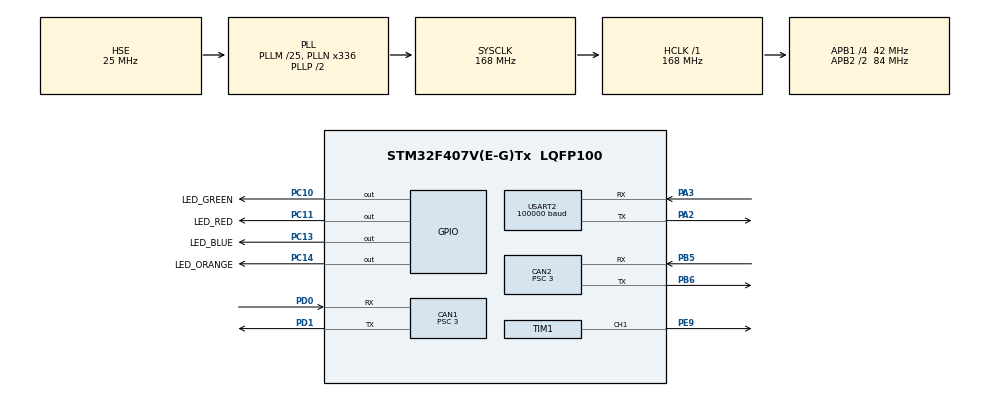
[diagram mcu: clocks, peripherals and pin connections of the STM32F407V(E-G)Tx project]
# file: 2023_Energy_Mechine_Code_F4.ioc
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CAN1.ABOM=ENABLE
CAN1.BS1=CAN_BS1_9TQ
CAN1.BS2=CAN_BS2_4TQ
CAN1.CalculateBaudRate=1000000
CAN1.CalculateTimeBit=1000
CAN1.CalculateTimeQuantum=71.42857142857143
CAN1.Prescaler=3
CAN1.TXFP=ENABLE
CAN2.ABOM=ENABLE
CAN2.BS1=CAN_BS1_9TQ
CAN2.BS2=CAN_BS2_4TQ
CAN2.CalculateBaudRate=1000000
CAN2.CalculateTimeBit=1000
CAN2.CalculateTimeQuantum=71.42857142857143
CAN2.Prescaler=3
CAN2.TXFP=ENABLE
Dma.Request0=USART2_RX
Dma.Request1=USART2_TX
Dma.Request2=TIM1_CH1
Dma.TIM1_CH1.2.Direction=DMA_MEMORY_TO_PERIPH
Dma.TIM1_CH1.2.FIFOMode=DMA_FIFOMODE_DISABLE
Dma.TIM1_CH1.2.Instance=DMA2_Stream1
Dma.TIM1_CH1.2.MemDataAlignment=DMA_MDATAALIGN_HALFWORD
Dma.TIM1_CH1.2.MemInc=DMA_MINC_ENABLE
Dma.TIM1_CH1.2.Mode=DMA_CIRCULAR
Dma.TIM1_CH1.2.PeriphDataAlignment=DMA_PDATAALIGN_HALFWORD
Dma.TIM1_CH1.2.PeriphInc=DMA_PINC_DISABLE
Dma.TIM1_CH1.2.Priority=DMA_PRIORITY_MEDIUM
Dma.USART2_RX.0.Direction=DMA_PERIPH_TO_MEMORY
Dma.USART2_RX.0.FIFOMode=DMA_FIFOMODE_DISABLE
Dma.USART2_RX.0.Instance=DMA1_Stream5
Dma.USART2_RX.0.MemDataAlignment=DMA_MDATAALIGN_BYTE
Dma.USART2_RX.0.MemInc=DMA_MINC_ENABLE
Dma.USART2_RX.0.Mode=DMA_CIRCULAR
Dma.USART2_RX.0.PeriphDataAlignment=DMA_PDATAALIGN_BYTE
Dma.USART2_RX.0.PeriphInc=DMA_PINC_DISABLE
Dma.USART2_RX.0.Priority=DMA_PRIORITY_VERY_HIGH
Dma.USART2_TX.1.Direction=DMA_MEMORY_TO_PERIPH
Dma.USART2_TX.1.FIFOMode=DMA_FIFOMODE_DISABLE
Dma.USART2_TX.1.Instance=DMA1_Stream6
Dma.USART2_TX.1.MemDataAlignment=DMA_MDATAALIGN_BYTE
Dma.USART2_TX.1.MemInc=DMA_MINC_ENABLE
Dma.USART2_TX.1.Mode=DMA_NORMAL
Dma.USART2_TX.1.PeriphDataAlignment=DMA_PDATAALIGN_BYTE
Dma.USART2_TX.1.PeriphInc=DMA_PINC_DISABLE
Dma.USART2_TX.1.Priority=DMA_PRIORITY_LOW
Mcu.Family=STM32F4
Mcu.Name=STM32F407V(E-G)Tx
Mcu.Package=LQFP100
NVIC.CAN1_RX0_IRQn=true\:0\:0\:false\:false\:true\:true\:true\:true
NVIC.CAN2_RX0_IRQn=true\:0\:0\:false\:false\:true\:true\:true\:true
NVIC.DMA1_Stream5_IRQn=true\:0\:0\:false\:false\:true\:false\:true\:true
NVIC.DMA1_Stream6_IRQn=true\:0\:0\:false\:false\:true\:false\:true\:true
NVIC.DMA2_Stream1_IRQn=true\:0\:0\:false\:false\:true\:false\:true\:true
NVIC.PriorityGroup=NVIC_PRIORITYGROUP_4
NVIC.USART2_IRQn=true\:0\:0\:false\:false\:true\:true\:true\:true
PA13.Mode=Serial_Wire
PA13.Signal=SYS_JTMS-SWDIO
PA14.Mode=Serial_Wire
PA14.Signal=SYS_JTCK-SWCLK
PA2.Mode=Asynchronous
PA2.Signal=USART2_TX
PA3.Mode=Asynchronous
PA3.Signal=USART2_RX
PB5.Mode=CAN_Activate
PB5.Signal=CAN2_RX
PB6.Mode=CAN_Activate
PB6.Signal=CAN2_TX
PC10.GPIO_Label=LED_GREEN
PC10.Signal=GPIO_Output
PC11.GPIO_Label=LED_RED
PC11.Signal=GPIO_Output
PC13-ANTI_TAMP.GPIO_Label=LED_BLUE
PC13-ANTI_TAMP.Signal=GPIO_Output
PC14-OSC32_IN.GPIO_Label=LED_ORANGE
PC14-OSC32_IN.Signal=GPIO_Output
PD0.Mode=CAN_Activate
PD0.Signal=CAN1_RX
PD1.Mode=CAN_Activate
PD1.Signal=CAN1_TX
PE9.Signal=S_TIM1_CH1
PH0-OSC_IN.Mode=HSE-External-Oscillator
PH0-OSC_IN.Signal=RCC_OSC_IN
PH1-OSC_OUT.Mode=HSE-External-Oscillator
PH1-OSC_OUT.Signal=RCC_OSC_OUT
ProjectManager.HeapSize=0x200
ProjectManager.StackSize=0x400
ProjectManager.TargetToolchain=MDK-ARM V5
RCC.48MHZClocksFreq_Value=84000000
RCC.AHBFreq_Value=168000000
RCC.APB1CLKDivider=RCC_HCLK_DIV4
RCC.APB1Freq_Value=42000000
RCC.APB1TimFreq_Value=84000000
RCC.APB2CLKDivider=RCC_HCLK_DIV2
RCC.APB2Freq_Value=84000000
RCC.APB2TimFreq_Value=168000000
RCC.CortexFreq_Value=168000000
RCC.HCLKFreq_Value=168000000
RCC.HSE_VALUE=25000000
RCC.HSI_VALUE=16000000
RCC.LSE_VALUE=32768
RCC.PLLM=25
RCC.PLLN=336
RCC.PLLSourceVirtual=RCC_PLLSOURCE_HSE
RCC.SYSCLKFreq_VALUE=168000000
RCC.SYSCLKSource=RCC_SYSCLKSOURCE_PLLCLK
RCC.VCOOutputFreq_Value=336000000
SH.S_TIM1_CH1.0=TIM1_CH1,PWM Generation1 CH1
TIM1.Channel-PWM\ Generation1\ CH1=TIM_CHANNEL_1
TIM1.Period=105
TIM1.Prescaler=2-1
TIM1.Pulse-PWM\ Generation1\ CH1=25
USART2.BaudRate=100000
USART2.VirtualMode=VM_ASYNC
VP_TIM1_VS_ClockSourceINT.Mode=Internal
board=custom

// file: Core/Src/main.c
/* USER CODE BEGIN Header */
/**
  ******************************************************************************
  * @file           : main.c
  * @brief          : Main program body
  ******************************************************************************
  * @attention
  *  2023 RobotPiolts
  *  能量机关大主控代码
  *  作者：zs
	*  邮件：szhangszu@163.com
	*  QQ:   1273890169
  *
  *
  *
  *
  *
  ******************************************************************************
  */
/* USER CODE END Header */
#include "main.h"
#include "can.h"
#include "dma.h"
#include "tim.h"
#include "usart.h"
#include "gpio.h"

/* USER CODE BEGIN Includes */
#include "CAN_receive.h"
#include "can_protocal.h"
#include "uart_drv.h"
#include "rc.h"
#include "motor.h"
#include <math.h>
#include "Flag_State.h"
#include "WS2812.h"
#include <stdlib.h>
#include <time.h>
/* USER CODE END Includes */

/* USER CODE BEGIN PTD */
float motor_speed;
uint8_t  ucSec;
extern float usTms; //毫秒计时
extern float ms_2500; //毫秒计时

/* USER CODE END PTD */

/* USER CODE BEGIN PD */
#define BOARD_NUMBER 0
#define TIME_CNT_CLEAR 255

#define ON  1
#define OFF 0
#define BLUE  1
#define RED 0
#define COLOR (BLUE)

/* USER CODE END PD */

/* USER CODE BEGIN PM */
float speed_rate;
uint8_t color;
uint8_t rand_set;
uint8_t rand_num_0;
uint8_t rand_num_1;
uint8_t rand_num_2;
uint8_t rand_num_3;
uint8_t rand_num_4;
uint8_t motor_control;
uint8_t s2_down_now;
uint8_t s2_down_last;
uint8_t s1_down_now;
uint8_t s1_down_last;
float a_x_1000;
float a_x_1;
float w_x_1000;
float w_x_1;
float b;
int32_t last_time = 0;
int32_t now_time = 0;
char speed1;
char speed2;
float sin_value;
char Manual;
/* USER CODE END PM */

void SystemClock_Config(void);

int main(void)
{

  /* MCU Configuration--------------------------------------------------------*/

  /* Reset of all peripherals, Initializes the Flash interface and the Systick. */
  HAL_Init();

  /* Configure the system clock */
  SystemClock_Config();

  /* Initialize all configured peripherals */
  MX_GPIO_Init();
  MX_DMA_Init();
  MX_CAN1_Init();
  MX_CAN2_Init();
  MX_USART2_UART_Init();
  MX_TIM1_Init();
  /* USER CODE BEGIN 2 */
	CAN1_Init();
	CAN2_Init();
	USART2_Init();
	Init_Rc();
  /* USER CODE END 2 */

  /* Infinite loop */
  /* USER CODE BEGIN WHILE */
	WS_CloseAll_R();
	/*点亮R*/
	WS_Write_R(0,0,255);

	/* 标志位初始化 */
	Board_Order_info_Init(Board_Order_info);
	Big_Fu_info_Init(Big_Fu_info);
	//记录睡眠时间
  uint64_t sleep_time = 0;

	speed_rate = 907;
	color = COLOR;

	/*初始五个随机数生成*/
	rand_num();
	a_x_1000 = rand()%265 + 780;
	a_x_1 = a_x_1000/1000.0f;

	w_x_1000 = rand()%116 + 1884;
	w_x_1 = w_x_1000/1000.0f;

	b = 2.09f - a_x_1;
	last_time = 0;

	/* PID初始化设置 */
	PID_struct_init(&pid_spd[0],12000,5000,20.0f,0.6f,0.0f);

  while (1)
  {

    /* USER CODE END WHILE */

    /* USER CODE BEGIN 3 */
		/* 遥控器心跳包 */
		rc_sensor_heart_beat(&rc);

		/* 遥控器离线/在线处理 */
		if(RC_OFFLINE)
	  {
      Board_Info_Tx();
			if(HAL_GetTick() - sleep_time < 200)
			{
				RC_ResetData(&rc);
			  pid_spd[0].pos_out = 0;
				Board_Order_info[0].Board_Work = OFF;
				Board_Order_info[1].Board_Work = OFF;
				Board_Order_info[2].Board_Work = OFF;
				Board_Order_info[3].Board_Work = OFF;
				Board_Order_info[4].Board_Work = OFF;
			}
			else if(HAL_GetTick()- sleep_time<500)
			{
				/*底盘电机停转卸力	*/
				CAN_cmd_motor(0,0,0,0);
			}

		}
    /* 大符速度设置 */

				//颜色设置
				Board_Order_info[0].Set_Color = color;
				Board_Order_info[1].Set_Color = color;
				Board_Order_info[2].Set_Color = color;
				Board_Order_info[3].Set_Color = color;
				Board_Order_info[4].Set_Color = color;

	/*扇叶做好击打准备*/
				Board_Order_info[rand_num_0].Board_Work  = ON;
				if(	!CH0_VALUE && !CH1_VALUE)
				{
						if(Big_Fu_info[rand_num_0].Single_Hit_State == OFF)
						{
								if((ms_2500 >= 2400 && Big_Fu_info[rand_num_0].Single_Hit_State == OFF)
									|| (Big_Fu_info[rand_num_1].Single_Hit_State
									||  Big_Fu_info[rand_num_2].Single_Hit_State
									||	Big_Fu_info[rand_num_3].Single_Hit_State
									||	Big_Fu_info[rand_num_4].Single_Hit_State))
								{
										Board_Order_info[0].Board_Work = OFF;
										Board_Order_info[1].Board_Work = OFF;
										Board_Order_info[2].Board_Work = OFF;
										Board_Order_info[3].Board_Work = OFF;
										Board_Order_info[4].Board_Work = OFF;

										rand_num();
								}
						}
					}
				if(Big_Fu_info[rand_num_0].Single_Hit_State == ON)
				{
					Board_Order_info[rand_num_1].Board_Work  = ON;
	   	  }
				if(Big_Fu_info[rand_num_1].Single_Hit_State == ON)
				{
					Board_Order_info[rand_num_2].Board_Work  = ON;
				}
				if(Big_Fu_info[rand_num_2].Single_Hit_State == ON)
				{
					Board_Order_info[rand_num_3].Board_Work  = ON;
				}
				if(Big_Fu_info[rand_num_3].Single_Hit_State == ON)
				{
					Board_Order_info[rand_num_4].Board_Work  = ON;

				}

	if(RC_ONLINE)
	{
			HAL_TIM_PWM_Stop_DMA(&htim1, TIM_CHANNEL_1);
			s2_down_now = rc.info->s2;
			if(s2_down_last != s2_down_now && rc.info->s2 == 2)
			{
				motor_control =! motor_control;
			}
			s2_down_last = s2_down_now;

			if(motor_control == 0)
			{
				pid_spd[0].pos_out = 0;
				CAN_cmd_motor(0,0,0,0);
			}

			if(CH0_VALUE <= -600 && CH1_VALUE >= 600)
			{
				speed1 = 1;
				speed2 = 0;
			}
			if(CH2_VALUE >= 600 && CH3_VALUE >= 600)
			{
				speed1 = 0;
				speed2 = 1;
			}

				if(CH0_VALUE <= -600  && CH1_VALUE >= 600 && CH2_VALUE>= 600 && CH3_VALUE >= 600)
			{
				 __set_FAULTMASK(1); //关闭所有中断
				NVIC_SystemReset(); //进行软件复位
			}

			/*电机旋转速度*/
				if(speed1==1)
			{
        sin_value = sin(w_x_1*usTms/1000.0f);
				motor_speed = (a_x_1 * sin_value + b)*speed_rate;
			}
			if(speed2==1)
			{
				motor_speed = 950;
			}
			if(motor_control == 1)
			{
				pid_calc(&pid_spd[0],  motor_measure[0].speed_rpm, motor_speed);

				/*CAN发送电流驱动电机*/
				CAN_cmd_motor( 0, 0,pid_spd[0].pos_out, 0);
			}

			if(SW2_MID)
			{
				color = BLUE;
        WS_Write_R(0,0,150);
			}

			if(SW2_UP)
			{
				color = RED;
        WS_Write_R(150,0,0);
			}

			if(SW1_UP && !CH2_VALUE && !CH3_VALUE)
			{
					Board_Order_info[0].Board_Work = OFF;
					Board_Order_info[1].Board_Work = OFF;
					Board_Order_info[2].Board_Work = OFF;
					Board_Order_info[3].Board_Work = OFF;
					Board_Order_info[4].Board_Work = OFF;
				  Manual = 0;
			}

			if(CH0_VALUE >= 600  && CH1_VALUE <= -600 )
			{
				Board_Order_info[0].Board_Work = OFF;
				Board_Order_info[1].Board_Work = OFF;
				Board_Order_info[2].Board_Work = OFF;
				Board_Order_info[3].Board_Work = OFF;
				Board_Order_info[4].Board_Work = OFF;

				Board_Order_info[0].RainBow_Flag = 1;
				Board_Order_info[1].RainBow_Flag = 1;
				Board_Order_info[2].RainBow_Flag = 1;
				Board_Order_info[3].RainBow_Flag = 1;
				Board_Order_info[4].RainBow_Flag = 1;
			}
			if(CH2_VALUE <= -600  && CH3_VALUE <= -600 )
			{
				Board_Order_info[0].RainBow_Flag = 0;
				Board_Order_info[1].RainBow_Flag = 0;
				Board_Order_info[2].RainBow_Flag = 0;
				Board_Order_info[3].RainBow_Flag = 0;
				Board_Order_info[4].RainBow_Flag = 0;

				Board_Order_info[0].Board_Work = OFF;
				Board_Order_info[1].Board_Work = OFF;
				Board_Order_info[2].Board_Work = OFF;
				Board_Order_info[3].Board_Work = OFF;
				Board_Order_info[4].Board_Work = OFF;
			}

			if(SW1_DOWN && !CH0_VALUE && !CH1_VALUE)
			{
				  	rand_num();
						a_x_1000 = rand()%265 + 780;
						a_x_1 = a_x_1000/1000.0f;

						w_x_1000 = rand()%116 + 1884;
						w_x_1 = w_x_1000/1000.0f;

					  b = 2.09f - a_x_1;
			}
	}
		Board_Info_Tx();
		HAL_Delay(1);
	}
}

void rand_num(void)
{
	rand_num_0 = rand()%5;
	rand_num_1 = rand()%5;
	while(rand_num_1 == rand_num_0)
	{
		rand_num_1 = rand()%5;
	}
	rand_num_2 = rand()%5;
	while(rand_num_2 == rand_num_0 || rand_num_2 == rand_num_1)
	{
		rand_num_2 = rand()%5;
	}
	rand_num_3 = rand()%5;
	while(rand_num_3 == rand_num_0 || rand_num_3 == rand_num_1 || rand_num_3 == rand_num_2)
	{
		rand_num_3 = rand()%5;
	}
		rand_num_4 = rand()%5;
	while(rand_num_4 == rand_num_0 || rand_num_4 == rand_num_1 || rand_num_4 == rand_num_2 || rand_num_4 == rand_num_3 )
	{
		rand_num_4 = rand()%5;
	}
}
/* USER CODE END 3 */
void SystemClock_Config(void)
{
  RCC_OscInitTypeDef RCC_OscInitStruct = {0};
  RCC_ClkInitTypeDef RCC_ClkInitStruct = {0};

  /** Configure the main internal regulator output voltage
  */
  __HAL_RCC_PWR_CLK_ENABLE();
  __HAL_PWR_VOLTAGESCALING_CONFIG(PWR_REGULATOR_VOLTAGE_SCALE1);

  /** Initializes the RCC Oscillators according to the specified parameters
  * in the RCC_OscInitTypeDef structure.
  */
  RCC_OscInitStruct.OscillatorType = RCC_OSCILLATORTYPE_HSE;
  RCC_OscInitStruct.HSEState = RCC_HSE_ON;
  RCC_OscInitStruct.PLL.PLLState = RCC_PLL_ON;
  RCC_OscInitStruct.PLL.PLLSource = RCC_PLLSOURCE_HSE;
  RCC_OscInitStruct.PLL.PLLM = 25;
  RCC_OscInitStruct.PLL.PLLN = 336;
  RCC_OscInitStruct.PLL.PLLP = RCC_PLLP_DIV2;
  RCC_OscInitStruct.PLL.PLLQ = 4;
  if (HAL_RCC_OscConfig(&RCC_OscInitStruct) != HAL_OK)
  {
    Error_Handler();
  }

  /** Initializes the CPU, AHB and APB buses clocks
  */
  RCC_ClkInitStruct.ClockType = RCC_CLOCKTYPE_HCLK|RCC_CLOCKTYPE_SYSCLK
                              |RCC_CLOCKTYPE_PCLK1|RCC_CLOCKTYPE_PCLK2;
  RCC_ClkInitStruct.SYSCLKSource = RCC_SYSCLKSOURCE_PLLCLK;
  RCC_ClkInitStruct.AHBCLKDivider = RCC_SYSCLK_DIV1;
  RCC_ClkInitStruct.APB1CLKDivider = RCC_HCLK_DIV4;
  RCC_ClkInitStruct.APB2CLKDivider = RCC_HCLK_DIV2;

  if (HAL_RCC_ClockConfig(&RCC_ClkInitStruct, FLASH_LATENCY_5) != HAL_OK)
  {
    Error_Handler();
  }
}

void Error_Handler(void)
{
  __disable_irq();
  while (1)
  {
  }
}
